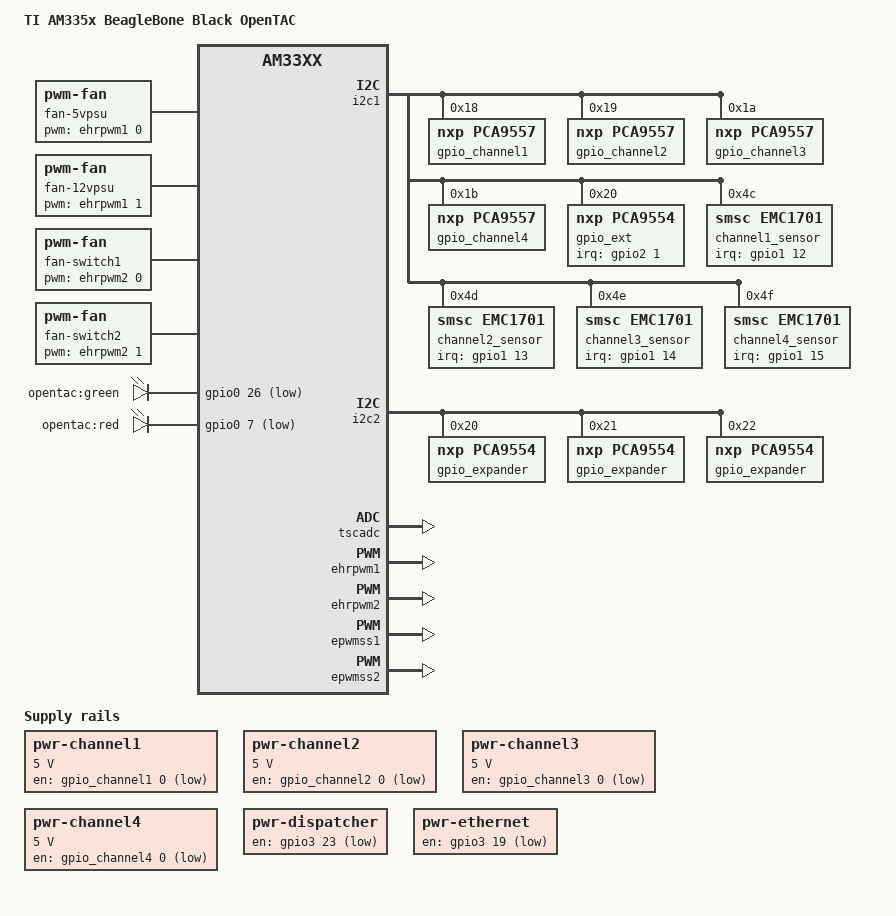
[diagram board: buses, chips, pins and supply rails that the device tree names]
/*
 * Copyright © 2015 Pengutronix, Markus Pargmann <mpa@pengutronix.de>
 *
 * This program is free software; you can redistribute it and/or modify
 * it under the terms of the GNU General Public License as published by
 * the Free Software Foundation; either version 2 of the License, or
 * (at your option) any later version.
 *
 * This program is distributed in the hope that it will be useful,
 * but WITHOUT ANY WARRANTY; without even the implied warranty of
 * MERCHANTABILITY or FITNESS FOR A PARTICULAR PURPOSE. See the
 * GNU General Public License for more details.
 *
 * You should have received a copy of the GNU General Public License
 * along with this program; if not, see <http://www.gnu.org/licenses/>.
 */

#include "am335x-boneblack.dts"

#include <dt-bindings/interrupt-controller/irq.h>

/ {
	model = "TI AM335x BeagleBone Black OpenTAC";
	compatible = "am335x-opentac", "ti,am335x-bone-black", "ti,am335x-bone", "ti,am33xx";

	fan-5vpsu {
		compatible = "pwm-fan";
		pwms = <&ehrpwm1 0 10000 0>;
		pinctrl-names = "default";
		pinctrl-0 = <&pinctrl_fan_5vpsu>;
		cooling-min-state = <0>;
		cooling-max-state = <3>;
		#cooling-cells = <2>;
		cooling-levels = <0 130 170 230>;
	};

	fan-12vpsu {
		compatible = "pwm-fan";
		pwms = <&ehrpwm1 1 10000 0>;
		pinctrl-names = "default";
		pinctrl-0 = <&pinctrl_fan_12vpsu>;
		cooling-min-state = <0>;
		cooling-max-state = <3>;
		#cooling-cells = <2>;
		cooling-levels = <0 130 170 230>;
	};

	fan-switch1 {
		compatible = "pwm-fan";
		pwms = <&ehrpwm2 0 10000 0>;
		pinctrl-names = "default";
		pinctrl-0 = <&pinctrl_fan_switch1>;
		cooling-min-state = <0>;
		cooling-max-state = <3>;
		#cooling-cells = <2>;
		cooling-levels = <0 130 170 230>;
	};

	fan-switch2 {
		compatible = "pwm-fan";
		pwms = <&ehrpwm2 1 10000 0>;
		pinctrl-names = "default";
		pinctrl-0 = <&pinctrl_fan_switch2>;
		cooling-min-state = <0>;
		cooling-max-state = <3>;
		#cooling-cells = <2>;
		cooling-levels = <0 130 170 230>;
	};

	/* TODO: pwms are not working yet */

	opentac_leds {
		compatible = "gpio-leds";
		pinctrl-name = "default";
		pinctrl-0 = <&pinctrl_user_leds_opentac>;

		green {
			label = "opentac:green";
			gpios = <&gpio0 26 GPIO_ACTIVE_LOW>;
			default-state = "off";
		};

		red {
			label = "opentac:red";
			gpios = <&gpio0 7 GPIO_ACTIVE_LOW>;
			default-state = "off";
		};
	};

	pwr_channel1 {
		compatible = "regulator-fixed";
		regulator-name = "pwr-channel1";
		gpio = <&gpio_channel1 0 GPIO_ACTIVE_LOW>;
		regulator-min-microvolt = <5000000>;
		regulator-max-microvolt = <5000000>;
		startup-delay-us = <3000>;
		regulator-always-on;
	};

	pwr_channel2 {
		compatible = "regulator-fixed";
		regulator-name = "pwr-channel2";
		gpio = <&gpio_channel2 0 GPIO_ACTIVE_LOW>;
		regulator-min-microvolt = <5000000>;
		regulator-max-microvolt = <5000000>;
		startup-delay-us = <3000>;
		regulator-always-on;
	};

	pwr_channel3 {
		compatible = "regulator-fixed";
		regulator-name = "pwr-channel3";
		gpio = <&gpio_channel3 0 GPIO_ACTIVE_LOW>;
		regulator-min-microvolt = <5000000>;
		regulator-max-microvolt = <5000000>;
		startup-delay-us = <3000>;
		regulator-always-on;
	};

	pwr_channel4 {
		compatible = "regulator-fixed";
		regulator-name = "pwr-channel4";
		gpio = <&gpio_channel4 0 GPIO_ACTIVE_LOW>;
		regulator-min-microvolt = <5000000>;
		regulator-max-microvolt = <5000000>;
		startup-delay-us = <3000>;
		regulator-always-on;
	};

	pwr_dispatcher {
		compatible = "regulator-fixed";
		regulator-name = "pwr-dispatcher";
		pinctrl-names = "default";
		pinctrl-0 = <&pinctrl_pwrdispatcher>;
		gpio = <&gpio3 23 GPIO_ACTIVE_HIGH>;
		regulator-always-on;
	};

	pwr_ethernet {
		compatible = "regulator-fixed";
		regulator-name = "pwr-ethernet";
		pinctrl-names = "default";
		pinctrl-0 = <&pinctrl_pwrethernet>;
		gpio = <&gpio3 19 GPIO_ACTIVE_HIGH>;
		regulator-always-on;
	};

	/* TODO: the relays should be regulators as well */
	/*
	 * TODO: make the regulator userspace consumer driver usable for DT
	 * somehow. As soon as fixed 'regulator-always-on' can be removed.
	 */
	/* TODO: Daughter board missing */
};

&i2c1 {
	pinctrl-names = "default";
	pinctrl-0 = <&pinctrl_i2c1>;
	status = "okay";

	gpio_channel1: channel1_expander@18 {
		compatible = "nxp,pca9557";
		reg = <0x18>;
		#gpio-cells = <2>;

		nPwrEn {
			gpios = <0 0>;
		};

		SerialnReset {
			gpios = <1 0>;
		};

		SerialRelayRst {
			gpios = <2 0>;
		};

		SerialRelaySet {
			gpios = <3 0>;
		};

		PwrRelayRst {
			gpios = <4 0>;
		};

		PwrRelaySet {
			gpios = <5 0>;
		};

		AlarmShutdown {
			gpios = <6 0>;
		};

		nAlarmRst {
			gpios = <7 0>;
		};
	};

	gpio_channel2: channel2_expander@19 {
		compatible = "nxp,pca9557";
		reg = <0x19>;
		#gpio-cells = <2>;

		nPwrEn {
			gpios = <0 0>;
		};

		SerialnReset {
			gpios = <1 0>;
		};

		SerialRelayRst {
			gpios = <2 0>;
		};

		SerialRelaySet {
			gpios = <3 0>;
		};

		PwrRelayRst {
			gpios = <4 0>;
		};

		PwrRelaySet {
			gpios = <5 0>;
		};

		AlarmShutdown {
			gpios = <6 0>;
		};

		nAlarmRst {
			gpios = <7 0>;
		};
	};

	gpio_channel3: channel3_expander@1a {
		compatible = "nxp,pca9557";
		reg = <0x1a>;
		#gpio-cells = <2>;

		nPwrEn {
			gpios = <0 0>;
		};

		SerialnReset {
			gpios = <1 0>;
		};

		SerialRelayRst {
			gpios = <2 0>;
		};

		SerialRelaySet {
			gpios = <3 0>;
		};

		PwrRelayRst {
			gpios = <4 0>;
		};

		PwrRelaySet {
			gpios = <5 0>;
		};

		AlarmShutdown {
			gpios = <6 0>;
		};

		nAlarmRst {
			gpios = <7 0>;
		};
	};

	gpio_channel4: channel4_expander@1b {
		compatible = "nxp,pca9557";
		reg = <0x1b>;
		#gpio-cells = <2>;

		nPwrEn {
			gpios = <0 0>;
		};

		SerialnReset {
			gpios = <1 0>;
		};

		SerialRelayRst {
			gpios = <2 0>;
		};

		SerialRelaySet {
			gpios = <3 0>;
		};

		PwrRelayRst {
			gpios = <4 0>;
		};

		PwrRelaySet {
			gpios = <5 0>;
		};

		AlarmShutdown {
			gpios = <6 0>;
		};

		nAlarmRst {
			gpios = <7 0>;
		};
	};

	gpio_ext: expander@20 {
		compatible = "nxp,pca9554";
		reg = <0x20>;
		interrupt-parent = <&gpio2>;
		interrupts = <1 IRQ_TYPE_EDGE_FALLING>;
		pinctrl-names = "default";
		pinctrl-0 = <&pinctrl_gpio_ext>;
		#gpio-cells = <2>;
	};

	channel1_sensor@4c {
		/* TODO: driver missing?! */
		compatible = "smsc,emc1701";
		reg = <0x4c>;
		interrupt-parent = <&gpio1>;
		interrupts = <12 IRQ_TYPE_LEVEL_LOW>;
		pinctrl-names = "default";
		pinctrl-0 = <&pinctrl_channel1_sensor>;
	};

	channel2_sensor@4d {
		/* TODO: driver missing?! */
		compatible = "smsc,emc1701";
		reg = <0x4d>;
		interrupt-parent = <&gpio1>;
		interrupts = <13 IRQ_TYPE_LEVEL_LOW>;
		pinctrl-names = "default";
		pinctrl-0 = <&pinctrl_channel2_sensor>;
	};

	channel3_sensor@4e {
		/* TODO: driver missing?! */
		compatible = "smsc,emc1701";
		reg = <0x4e>;
		interrupt-parent = <&gpio1>;
		interrupts = <14 IRQ_TYPE_LEVEL_LOW>;
		pinctrl-names = "default";
		pinctrl-0 = <&pinctrl_channel3_sensor>;
	};

	channel4_sensor@4f {
		/* TODO: driver missing?! */
		compatible = "smsc,emc1701";
		reg = <0x4f>;
		interrupt-parent = <&gpio1>;
		interrupts = <15 IRQ_TYPE_LEVEL_LOW>;
		pinctrl-names = "default";
		pinctrl-0 = <&pinctrl_channel4_sensor>;
	};
};

&i2c2 {
	gpio_expander@20 {
		compatible = "nxp,pca9554";
		reg = <0x20>;

		enPulse1 {
			gpios = <0 0>;
		};

		enPulse2 {
			gpios = <1 0>;
		};

		enPulse3 {
			gpios = <2 0>;
		};

		enPulse4 {
			gpios = <3 0>;
		};
	};

	gpio_expander@21 {
		compatible = "nxp,pca9554";
		reg = <0x21>;

		q1 {
			gpios = <0 0>;
		};

		q2 {
			gpios = <1 0>;
		};

		q3 {
			gpios = <2 0>;
		};

		q4 {
			gpios = <3 0>;
		};

		q5 {
			gpios = <4 0>;
		};

		q6 {
			gpios = <5 0>;
		};

		q7 {
			gpios = <6 0>;
		};

		q8 {
			gpios = <7 0>;
		};
	};

	gpio_expander@22 {
		compatible = "nxp,pca9554";
		reg = <0x22>;

		q9 {
			gpios = <0 0>;
		};

		q10 {
			gpios = <1 0>;
		};

		q11 {
			gpios = <2 0>;
		};

		q12 {
			gpios = <3 0>;
		};
	};
};

&tscadc {
	status = "okay";
};

&am335x_adc {
	ti,adc-channels = <0 1 2 3 4 5 6>;
};

&ehrpwm1 {
	status = "okay";
};

&ehrpwm2 {
	status = "okay";
};

&epwmss1 {
	status = "okay";
};

&epwmss2 {
	status = "okay";
};

&gpio0 {
	pinctrl-names = "default";
	pinctrl-0 = <&pinctrl_nrst>;

	nRST {
		gpios = <27 0>;
	};
};

&am33xx_pinmux {
	pinctrl_user_leds_opentac: user_leds_opentac {
		pinctrl-single,pins = <
			0x28 (PIN_OUTPUT_PULLDOWN | MUX_MODE7) /* GPIO0_26 - StatusGreen */
			0x164 (PIN_OUTPUT_PULLDOWN | MUX_MODE7) /* GPIO0_7 - StatusRed */
		>;
	};

	pinctrl_pwrdispatcher: pwrdispatcher {
		pinctrl-single,pins = <
			0x1ac (PIN_OUTPUT_PULLDOWN | MUX_MODE7) /* GPIO3_21 - enDispatcher */
		>;
	};

	pinctrl_pwrethernet: pwrethernet {
		pinctrl-single,pins = <
			0x1a4 (PIN_OUTPUT_PULLDOWN | MUX_MODE7) /* GPIO3_19 - enEthernet */
		>;
	};

	pinctrl_opentac_gpio: opentac_gpio {
		pinctrl-single,pins = <
			0x18c (PIN_INPUT_PULLUP | MUX_MODE7) /* GPIO2_1 - nINT */
		>;
	};

	pinctrl_i2c1: i2c1 {
		pinctrl-single,pins = <
			0x158 (PIN_INPUT_PULLUP | MUX_MODE2) /* SPI0_D1 - I2C1_SDA */
			0x15c (PIN_INPUT_PULLUP | MUX_MODE2) /* SPI0_CS0 - I2C1_SCL */
		>;
	};

	pinctrl_fan_5vpsu: fan_5vpsu {
		pinctrl-single,pins = <
			0x045 (PIN_OUTPUT | MUX_MODE6) /* GPMC_A2 - EHRPWM1A */
		>;
	};

	pinctrl_fan_12vpsu: fan_12vpsu {
		pinctrl-single,pins = <
			0x04c (PIN_OUTPUT | MUX_MODE6) /* GPMC_A3 - EHRPWM1B */
		>;
	};

	pinctrl_fan_switch1: fan_switch1 {
		pinctrl-single,pins = <
			0x020 (PIN_OUTPUT | MUX_MODE6) /* GPMC_AD8 - EHRPWM2A */
		>;
	};

	pinctrl_fan_switch2: fan_switch2 {
		pinctrl-single,pins = <
			0x024 (PIN_OUTPUT | MUX_MODE6) /* GPMC_AD9 - EHRPWM2B */
		>;
	};

	pinctrl_gpio_ext: gpio_ext {
		pinctrl-single,pins = <
			0x08c (PIN_INPUT_PULLUP | MUX_MODE7) /* GPMC_CLK - GPIO2_1 */
		>;
	};

	pinctrl_channel1_sensor: channel1_sensor {
		pinctrl-single,pins = <
			0x030 (PIN_INPUT_PULLUP | MUX_MODE7) /* GPMC_AD12 - GPIO1_12 */
		>;
	};

	pinctrl_channel2_sensor: channel2_sensor {
		pinctrl-single,pins = <
			0x034 (PIN_INPUT_PULLUP | MUX_MODE7) /* GPMC_AD13 - GPIO1_13 */
		>;
	};

	pinctrl_channel3_sensor: channel3_sensor {
		pinctrl-single,pins = <
			0x038 (PIN_INPUT_PULLUP | MUX_MODE7) /* GPMC_AD14 - GPIO1_14 */
		>;
	};

	pinctrl_channel4_sensor: channel4_sensor {
		pinctrl-single,pins = <
			0x03c (PIN_INPUT_PULLUP | MUX_MODE7) /* GPMC_AD15 - GPIO1_15 */
		>;
	};

	pinctrl_nrst: nrst {
		pinctrl-single,pins = <
			0x02c (PIN_OUTPUT_PULLUP | MUX_MODE7) /* GPMC_AD11 - GPIO0_27 */
		>;
	};
};
